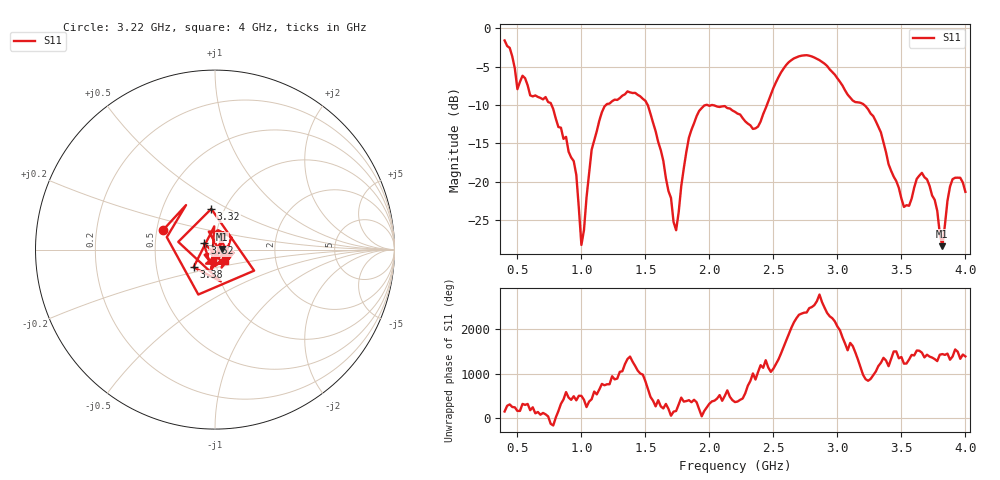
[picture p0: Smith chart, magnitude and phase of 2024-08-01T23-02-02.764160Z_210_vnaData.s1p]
!Created with skrf (http://scikit-rf.org).
# Hz S RI R 50.0
!freq ReS11 ImS11
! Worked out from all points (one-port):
!   181 points, 400 MHz to 4 GHz, reference 50 ohm
!   lowest |S11| = -28.4 dB at 3.82 GHz (marker M1), VSWR 1.08, Z = 53.9 + j0.311 ohm
!   |S11| at or under -10 dB: 1.517 GHz to 1.977 GHz (459.4 MHz wide, 26.3 % of centre); 1.982 GHz to 2.45 GHz (467.5 MHz wide, 21.1 % of centre); 3.208 GHz to end of sweep (the widest 3 of 4)
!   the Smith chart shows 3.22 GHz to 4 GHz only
!   S11 on the Smith chart (normalised r, x): 3.22 GHz: 0.54, +0.13; 3.32 GHz: 0.87, +0.42; 3.38 GHz: 0.77, -0.16; 3.52 GHz: 0.89, +0.06; 4 GHz: 1.11, -0.14
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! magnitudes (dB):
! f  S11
! 400 MHz  -1.6
! 500 MHz  -7.9
! 720 MHz  -9.0
! 860 MHz  -14.4
! 960 MHz  -19.1
! 1 GHz  -28.3
! 1.08 GHz  -15.8
! 1.18 GHz  -10.2
! 1.3 GHz  -9.1
! 1.52 GHz  -10.1
! 1.72 GHz  -25.3
! 1.76 GHz  -24.0
! 1.84 GHz  -14.3
! 1.92 GHz  -10.8
! 2.2 GHz  -10.9
! 2.38 GHz  -12.8
! 2.66 GHz  -3.9
! 3.1 GHz  -9.0
! 3.22 GHz  -10.2
! 3.32 GHz  -12.8
! 3.38 GHz  -16.2
! 3.52 GHz  -23.3
! 3.56 GHz  -23.1
! 3.66 GHz  -18.9
! 3.76 GHz  -22.4
! 3.82 GHz  -28.4
! 3.9 GHz  -19.7
! 4 GHz  -21.3
